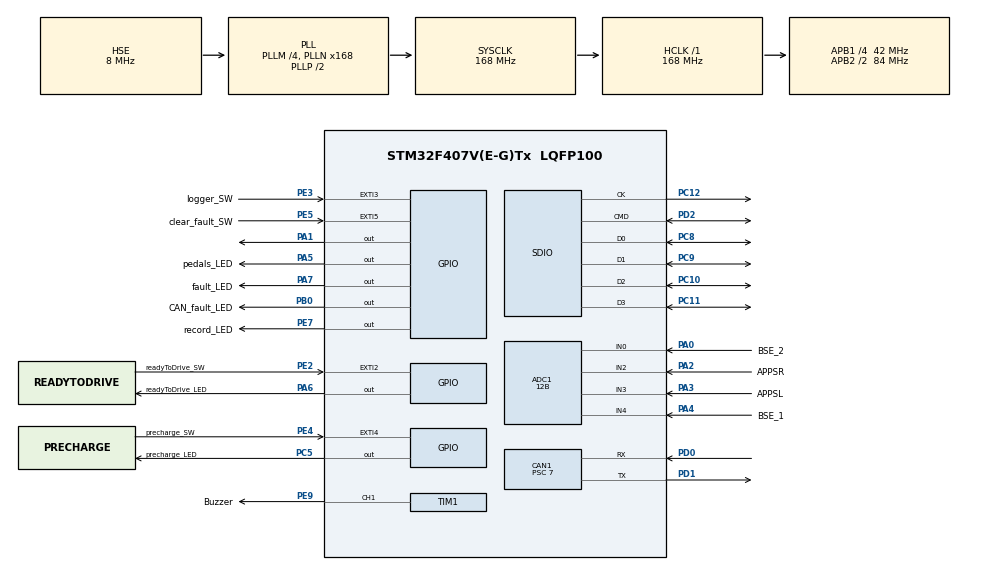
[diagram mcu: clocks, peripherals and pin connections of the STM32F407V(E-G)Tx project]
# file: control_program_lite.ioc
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ADC1.Channel-0\#ChannelRegularConversion=ADC_CHANNEL_2
ADC1.Channel-1\#ChannelRegularConversion=ADC_CHANNEL_3
ADC1.Channel-2\#ChannelRegularConversion=ADC_CHANNEL_4
ADC1.Channel-3\#ChannelRegularConversion=ADC_CHANNEL_0
ADC1.ClockPrescaler=ADC_CLOCK_SYNC_PCLK_DIV8
ADC1.ContinuousConvMode=ENABLE
ADC1.DMAContinuousRequests=ENABLE
ADC1.NbrOfConversion=4
ADC1.NbrOfConversionFlag=1
ADC1.Rank-0\#ChannelRegularConversion=1
ADC1.Rank-1\#ChannelRegularConversion=2
ADC1.Rank-2\#ChannelRegularConversion=3
ADC1.Rank-3\#ChannelRegularConversion=4
ADC1.Resolution=ADC_RESOLUTION_12B
ADC1.SamplingTime-0\#ChannelRegularConversion=ADC_SAMPLETIME_112CYCLES
ADC1.SamplingTime-1\#ChannelRegularConversion=ADC_SAMPLETIME_112CYCLES
ADC1.SamplingTime-2\#ChannelRegularConversion=ADC_SAMPLETIME_112CYCLES
ADC1.SamplingTime-3\#ChannelRegularConversion=ADC_SAMPLETIME_112CYCLES
ADC1.ScanConvMode=ENABLE
ADC1.master=1
CAN1.BS1=CAN_BS1_5TQ
CAN1.BS2=CAN_BS2_6TQ
CAN1.CalculateBaudRate=500000
CAN1.CalculateTimeBit=1999.99
CAN1.CalculateTimeQuantum=166.66666666666669
CAN1.Prescaler=7
Dma.ADC1.0.Direction=DMA_PERIPH_TO_MEMORY
Dma.ADC1.0.FIFOMode=DMA_FIFOMODE_DISABLE
Dma.ADC1.0.Instance=DMA2_Stream0
Dma.ADC1.0.MemDataAlignment=DMA_MDATAALIGN_HALFWORD
Dma.ADC1.0.MemInc=DMA_MINC_ENABLE
Dma.ADC1.0.Mode=DMA_CIRCULAR
Dma.ADC1.0.PeriphDataAlignment=DMA_PDATAALIGN_HALFWORD
Dma.ADC1.0.PeriphInc=DMA_PINC_DISABLE
Dma.ADC1.0.Priority=DMA_PRIORITY_LOW
Dma.Request0=ADC1
Dma.Request1=SDIO_RX
Dma.Request2=SDIO_TX
Dma.SDIO_RX.1.Direction=DMA_PERIPH_TO_MEMORY
Dma.SDIO_RX.1.FIFOMode=DMA_FIFOMODE_ENABLE
Dma.SDIO_RX.1.FIFOThreshold=DMA_FIFO_THRESHOLD_FULL
Dma.SDIO_RX.1.Instance=DMA2_Stream3
Dma.SDIO_RX.1.MemBurst=DMA_MBURST_INC4
Dma.SDIO_RX.1.MemDataAlignment=DMA_MDATAALIGN_WORD
Dma.SDIO_RX.1.MemInc=DMA_MINC_ENABLE
Dma.SDIO_RX.1.Mode=DMA_PFCTRL
Dma.SDIO_RX.1.PeriphBurst=DMA_PBURST_INC4
Dma.SDIO_RX.1.PeriphDataAlignment=DMA_PDATAALIGN_WORD
Dma.SDIO_RX.1.PeriphInc=DMA_PINC_DISABLE
Dma.SDIO_RX.1.Priority=DMA_PRIORITY_LOW
Dma.SDIO_TX.2.Direction=DMA_MEMORY_TO_PERIPH
Dma.SDIO_TX.2.FIFOMode=DMA_FIFOMODE_ENABLE
Dma.SDIO_TX.2.FIFOThreshold=DMA_FIFO_THRESHOLD_FULL
Dma.SDIO_TX.2.Instance=DMA2_Stream6
Dma.SDIO_TX.2.MemBurst=DMA_MBURST_INC4
Dma.SDIO_TX.2.MemDataAlignment=DMA_MDATAALIGN_WORD
Dma.SDIO_TX.2.MemInc=DMA_MINC_ENABLE
Dma.SDIO_TX.2.Mode=DMA_PFCTRL
Dma.SDIO_TX.2.PeriphBurst=DMA_PBURST_INC4
Dma.SDIO_TX.2.PeriphDataAlignment=DMA_PDATAALIGN_WORD
Dma.SDIO_TX.2.PeriphInc=DMA_PINC_DISABLE
Dma.SDIO_TX.2.Priority=DMA_PRIORITY_LOW
FATFS._MAX_SS=4096
IWDG.Prescaler=IWDG_PRESCALER_32
IWDG.Reload=1000
Mcu.Family=STM32F4
Mcu.Name=STM32F407V(E-G)Tx
Mcu.Package=LQFP100
NVIC.CAN1_RX0_IRQn=true\:2\:0\:true\:true\:true\:5\:true\:true
NVIC.DMA2_Stream0_IRQn=true\:0\:0\:false\:true\:true\:1\:false\:true
NVIC.DMA2_Stream3_IRQn=true\:0\:0\:false\:false\:true\:false\:true
NVIC.DMA2_Stream6_IRQn=true\:0\:0\:false\:false\:true\:false\:true
NVIC.EXTI2_IRQn=true\:1\:0\:true\:true\:true\:3\:true\:true
NVIC.EXTI3_IRQn=true\:1\:2\:true\:false\:true\:true\:true
NVIC.EXTI4_IRQn=true\:1\:1\:true\:true\:true\:2\:true\:true
NVIC.EXTI9_5_IRQn=true\:1\:2\:true\:true\:true\:6\:true\:true
NVIC.PriorityGroup=NVIC_PRIORITYGROUP_2
NVIC.SDIO_IRQn=true\:0\:0\:false\:false\:true\:true\:true
NVIC.TIM2_IRQn=true\:0\:0\:false\:true\:true\:4\:true\:true
PA0-WKUP.GPIO_Label=BSE_2
PA0-WKUP.Signal=ADCx_IN0
PA1.Signal=GPIO_Output
PA2.GPIO_Label=APPSR
PA2.Signal=ADCx_IN2
PA3.GPIO_Label=APPSL
PA3.Signal=ADCx_IN3
PA4.GPIO_Label=BSE_1
PA4.Signal=ADCx_IN4
PA5.GPIO_Label=pedals_LED
PA5.Signal=GPIO_Output
PA6.GPIO_Label=readyToDrive_LED
PA6.Signal=GPIO_Output
PA7.GPIO_Label=fault_LED
PA7.Signal=GPIO_Output
PB0.GPIO_Label=CAN_fault_LED
PB0.Signal=GPIO_Output
PC10.GPIO_PuPd=GPIO_PULLUP
PC10.Mode=SD_4_bits_Wide_bus
PC10.Signal=SDIO_D2
PC11.GPIO_PuPd=GPIO_PULLUP
PC11.Mode=SD_4_bits_Wide_bus
PC11.Signal=SDIO_D3
PC12.Mode=SD_4_bits_Wide_bus
PC12.Signal=SDIO_CK
PC14-OSC32_IN.Mode=LSE-External-Oscillator
PC14-OSC32_IN.Signal=RCC_OSC32_IN
PC15-OSC32_OUT.Mode=LSE-External-Oscillator
PC15-OSC32_OUT.Signal=RCC_OSC32_OUT
PC5.GPIO_Label=precharge_LED
PC5.Signal=GPIO_Output
PC8.GPIO_PuPd=GPIO_PULLUP
PC8.Mode=SD_4_bits_Wide_bus
PC8.Signal=SDIO_D0
PC9.GPIO_PuPd=GPIO_PULLUP
PC9.Mode=SD_4_bits_Wide_bus
PC9.Signal=SDIO_D1
PD0.Mode=CAN_Activate
PD0.Signal=CAN1_RX
PD1.Mode=CAN_Activate
PD1.Signal=CAN1_TX
PD2.GPIO_PuPd=GPIO_PULLUP
PD2.Mode=SD_4_bits_Wide_bus
PD2.Signal=SDIO_CMD
PE2.GPIO_Label=readyToDrive_SW
PE2.GPIO_ModeDefaultEXTI=GPIO_MODE_IT_RISING_FALLING
PE2.GPIO_PuPd=GPIO_PULLUP
PE2.Signal=GPXTI2
PE3.GPIO_Label=logger_SW
PE3.GPIO_ModeDefaultEXTI=GPIO_MODE_IT_RISING_FALLING
PE3.GPIO_PuPd=GPIO_PULLUP
PE3.Signal=GPXTI3
PE4.GPIO_Label=precharge_SW
PE4.GPIO_ModeDefaultEXTI=GPIO_MODE_IT_RISING_FALLING
PE4.Signal=GPXTI4
PE5.GPIO_Label=clear_fault_SW
PE5.GPIO_ModeDefaultEXTI=GPIO_MODE_IT_RISING_FALLING
PE5.GPIO_PuPd=GPIO_PULLUP
PE5.Signal=GPXTI5
PE7.GPIO_Label=record_LED
PE7.Signal=GPIO_Output
PE9.GPIO_Label=Buzzer
PE9.Signal=S_TIM1_CH1
PH0-OSC_IN.Mode=HSE-External-Oscillator
PH0-OSC_IN.Signal=RCC_OSC_IN
PH1-OSC_OUT.Mode=HSE-External-Oscillator
PH1-OSC_OUT.Signal=RCC_OSC_OUT
ProjectManager.HeapSize=0x200
ProjectManager.StackSize=0x400
ProjectManager.TargetToolchain=MDK-ARM V5.32
RCC.48MHZClocksFreq_Value=48000000
RCC.AHBFreq_Value=168000000
RCC.APB1CLKDivider=RCC_HCLK_DIV4
RCC.APB1Freq_Value=42000000
RCC.APB1TimFreq_Value=84000000
RCC.APB2CLKDivider=RCC_HCLK_DIV2
RCC.APB2Freq_Value=84000000
RCC.APB2TimFreq_Value=168000000
RCC.CortexFreq_Value=168000000
RCC.HCLKFreq_Value=168000000
RCC.HSE_VALUE=8000000
RCC.HSI_VALUE=16000000
RCC.PLLM=4
RCC.PLLN=168
RCC.PLLQ=7
RCC.PLLSourceVirtual=RCC_PLLSOURCE_HSE
RCC.SYSCLKFreq_VALUE=168000000
RCC.SYSCLKSource=RCC_SYSCLKSOURCE_PLLCLK
RCC.VCOOutputFreq_Value=336000000
SH.ADCx_IN0.0=ADC1_IN0,IN0
SH.ADCx_IN2.0=ADC1_IN2,IN2
SH.ADCx_IN3.0=ADC1_IN3,IN3
SH.ADCx_IN4.0=ADC1_IN4,IN4
SH.S_TIM1_CH1.0=TIM1_CH1,PWM Generation1 CH1
TIM1.Channel-PWM\ Generation1\ CH1=TIM_CHANNEL_1
TIM1.Period=255-1
TIM1.Prescaler=646-1
TIM2.Period=2
TIM2.Prescaler=42000
TIM2.TIM_MasterOutputTrigger=TIM_TRGO_UPDATE
VP_FATFS_VS_SDIO.Mode=SDIO
VP_IWDG_VS_IWDG.Mode=IWDG_Activate
VP_TIM1_VS_ClockSourceINT.Mode=Internal
VP_TIM2_VS_ClockSourceINT.Mode=Internal
board=custom

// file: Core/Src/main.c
/* USER CODE BEGIN Header */
/**
  ******************************************************************************
  * @file           : main.c
  * @brief          : Main program body
  ******************************************************************************
  * @attention
  *
  * <h2><center>&copy; Copyright (c) 2021 STMicroelectronics.
  * All rights reserved.</center></h2>
  *
  * This software component is licensed by ST under BSD 3-Clause license,
  * the "License"; You may not use this file except in compliance with the
  * License. You may obtain a copy of the License at:
  *                        opensource.org/licenses/BSD-3-Clause
  *
  ******************************************************************************
  */
/* USER CODE END Header */
#include "main.h"
#include "adc.h"
#include "can.h"
#include "dma.h"
#include "fatfs.h"
#include "iwdg.h"
#include "sdio.h"
#include "tim.h"
#include "gpio.h"

/* USER CODE BEGIN Includes */
#include <stdbool.h>
#include <math.h>
#include <stdio.h>
#include <string.h>

/* USER CODE END Includes */

/* USER CODE BEGIN PD */
//command torque define

//torque upper bound
#define TORQUE_UB 700

//pedal box parameter setting
#define BrakeAct 850
#define APPSAct 300
#define APPSLeast 200   //for the APPS plausibility check  => motor must shut down until the APPS signals less than 5% peadal travel
#define APPSDIFF 2000

//if out of this range will generate error
#define APPSRUPPEST 4000
#define APPSLUPPEST 4000
#define BPPSUPPEST 4000
#define APPSRLOWEST 500
#define APPSLLOWEST 500
#define BPPSLOWEST 0
#define DISCONNECT 4050
//deine max and offset this parameter offset will slight bigger than the lowest and max will slight smaller than the uppest depends on  the pedal box
//this parameter is used to determine the output torque
#define APPSRMAX 2600
#define APPSLMAX 3800
#define APPSROFFSET 1600
#define APPSLOFFSET 2900
#define BPPSOFFSET 900
#define BPPSMAX 2500
#define ReadyTime 1000   //ms

//dma scan
#define APPSR adcArr[0] //min 1740   max 3740
#define APPSL adcArr[1] //min 1450   max 3500
#define BPPS   adcArr[2]
//#define APPS ((adcArr[0] - APPSROFFSET) + (adcArr[1] - APPSLOFFSET))/2

//daul algorithm
#define RAD 180.0/3.14159
#define RAD_REC 3.14159/180.0
#define SPEED (double)adcArr[4]
#define STEER (double)adcArr[5]

#define MASS 300.0
#define POWER_UB 40000
/* USER CODE END PD */

/* USER CODE BEGIN PV */
uint16_t adcArr[5];
int16_t APPS = 0;
static CAN_TxHeaderTypeDef TxMessage_right;
static CAN_TxHeaderTypeDef TxMessage_left;
static CAN_TxHeaderTypeDef TxMessage_R_clear;
static CAN_TxHeaderTypeDef TxMessage_L_clear;
static CAN_RxHeaderTypeDef RxMessage;

//Rx Txdata
uint8_t TxData_R[8]={0};
uint8_t TxData_L[8]={0};
uint8_t RxData_R[8]={0};
uint8_t RxData_L[8]={0};
uint8_t TxData_clear[8]={0};
uint32_t TxMailbox;
uint8_t RxData[8]={0};

//address
uint16_t OwnID=0x123;
uint16_t RemoteID =0x0A0;
uint16_t Received_ID;
//sensor
uint32_t accMeter =0;
uint16_t wheelSpeed[4];
uint16_t steerDegree =0;

//inverter
uint16_t rpm_right = 0;
uint16_t rpm_left = 0;
uint16_t DC_voltage;
uint16_t DC_current;

bool readyButton;
uint8_t errorNumber;
const uint16_t fixed_torque_ub = 1400;
uint16_t torque_ub = 0;
uint16_t commanded_torque=0;
uint16_t torque_right=0;
uint16_t torque_left=0;
uint32_t startTime;
uint32_t duration=0;
uint8_t cycle = 0;
bool pedals=0;
bool rtd_io=0;
bool error =0;
bool inverter_error_L = 0;
bool inverter_error_R = 0;
bool inverter_connect_L = 0;
bool inverter_connect_R = 0;
uint16_t inverter_alive_counter_R = 0;
uint16_t inverter_alive_counter_L = 0;
bool rtd_start=0; //if precharge&&reset&&readyToDrive io are all on this parameter will be true
bool record=0;
bool precharge_io=0;
bool clear_fault_io=0;
bool direction=0;

//time
double period=0;
//SD
char file_name[20] = "test.txt";
FRESULT res;
UINT written;
FILINFO info;
BYTE work[_MAX_SS];
char record_data[300];
uint16_t start_record_time;
uint16_t record_time;
uint16_t record_cnt = 0;
/* USER CODE END PV */

void SystemClock_Config(void);
static void MX_NVIC_Init(void);
/* USER CODE BEGIN PFP */
//APPS
void driving_mode(void);
void led_blink(void);
void pedals_mode(void);
uint8_t check_safety(void);
uint16_t map(int16_t value,int16_t inputL,int16_t inputH,int16_t outputL ,int16_t outputH);
void torque_command(void);
void torque_to_can(void);

//CAN
void CAN_filterConfig(void);
void CAN_Txsetup(void);

//buzzer
void setBuzzer(uint8_t value);

double map_double(double value,double inputL,double inputH,double outputL ,double outputH);

/* USER CODE END PFP */

int main(void)
{

  /* MCU Configuration--------------------------------------------------------*/

  /* Reset of all peripherals, Initializes the Flash interface and the Systick. */

  HAL_Init();

  /* Configure the system clock */
  SystemClock_Config();

  /* Initialize all configured peripherals */
  MX_GPIO_Init();
  MX_DMA_Init();
  MX_ADC1_Init();
  MX_CAN1_Init();
  MX_TIM1_Init();
  MX_TIM2_Init();
  MX_IWDG_Init();
  MX_SDIO_SD_Init();
  MX_FATFS_Init();

  /* Initialize interrupts */
  MX_NVIC_Init();
  /* USER CODE BEGIN 2 */
	HAL_ADC_Start_DMA(&hadc1,(uint32_t*)adcArr,4);
	HAL_TIM_Base_Start_IT(&htim2);
	CAN_filterConfig();
	CAN_Txsetup();

	precharge_io=HAL_GPIO_ReadPin(precharge_SW_GPIO_Port,precharge_SW_Pin);
	if(precharge_io)
		HAL_GPIO_WritePin(precharge_LED_GPIO_Port,precharge_LED_Pin,GPIO_PIN_SET);

	HAL_TIM_PWM_Start(&htim1, TIM_CHANNEL_1);

	// SD file set/mount
	/* Mode option 0:Do not mount (delayed mount), 1:Mount immediately */
	res = f_mount(&SDFatFS, (TCHAR const*)SDPath, 0);
	//srand( time(NULL) );

	// SD file open
	//sprintf(file_name, "test%4d.txt",rand());
	//file_name[4]+=65;
	//file_name[5]+=65;
	//file_name[6]+=65;
	//file_name[7]+=65;
	//res = f_open(&SDFile, file_name, FA_WRITE | FA_READ | FA_CREATE_ALWAYS );
	res = f_open(&SDFile, file_name, FA_OPEN_APPEND | FA_WRITE | FA_READ  | FA_CREATE_ALWAYS);
	f_close(&SDFile);
  /* USER CODE END 2 */

  /* Infinite loop */
  while (1)
  {

    /* USER CODE BEGIN 3 */
		//waiting for precharge reset_switch, ready to drive to activate the driving mode
		if(rtd_io==0 ){
				torque_right=0;
				torque_left=0;
				HAL_GPIO_WritePin(readyToDrive_LED_GPIO_Port,readyToDrive_LED_Pin,GPIO_PIN_RESET);
				HAL_GPIO_WritePin(pedals_LED_GPIO_Port,pedals_LED_Pin,GPIO_PIN_RESET);
				duration=0;
				do{
						if(rtd_start==1 && errorNumber == 5){
								startTime=HAL_GetTick();
								setBuzzer(200);
								while(duration<ReadyTime &&   rtd_start==1){
										duration = HAL_GetTick()-startTime;
								}
						}else{
							setBuzzer(0);
						}
				}while(duration<ReadyTime);
				 rtd_io=1;
				 setBuzzer(50);
				 HAL_Delay(100);
				 setBuzzer(0);
				 HAL_Delay(100);
				 setBuzzer(100);
				 HAL_Delay(100);
				 setBuzzer(0);
			}
			//driving stage
			if(rtd_io==1){
					HAL_GPIO_WritePin(fault_LED_GPIO_Port,fault_LED_Pin,GPIO_PIN_RESET);
					HAL_GPIO_WritePin(readyToDrive_LED_GPIO_Port,readyToDrive_LED_Pin,GPIO_PIN_SET);

				  //entering drive mode
					driving_mode();

			}
  }
  /* USER CODE END 3 */
}

void SystemClock_Config(void)
{
  RCC_OscInitTypeDef RCC_OscInitStruct = {0};
  RCC_ClkInitTypeDef RCC_ClkInitStruct = {0};

  /** Configure the main internal regulator output voltage
  */
  __HAL_RCC_PWR_CLK_ENABLE();
  __HAL_PWR_VOLTAGESCALING_CONFIG(PWR_REGULATOR_VOLTAGE_SCALE1);
  /** Initializes the RCC Oscillators according to the specified parameters
  * in the RCC_OscInitTypeDef structure.
  */
  RCC_OscInitStruct.OscillatorType = RCC_OSCILLATORTYPE_LSI|RCC_OSCILLATORTYPE_HSE;
  RCC_OscInitStruct.HSEState = RCC_HSE_ON;
  RCC_OscInitStruct.LSIState = RCC_LSI_ON;
  RCC_OscInitStruct.PLL.PLLState = RCC_PLL_ON;
  RCC_OscInitStruct.PLL.PLLSource = RCC_PLLSOURCE_HSE;
  RCC_OscInitStruct.PLL.PLLM = 4;
  RCC_OscInitStruct.PLL.PLLN = 168;
  RCC_OscInitStruct.PLL.PLLP = RCC_PLLP_DIV2;
  RCC_OscInitStruct.PLL.PLLQ = 7;
  if (HAL_RCC_OscConfig(&RCC_OscInitStruct) != HAL_OK)
  {
    Error_Handler();
  }
  /** Initializes the CPU, AHB and APB buses clocks
  */
  RCC_ClkInitStruct.ClockType = RCC_CLOCKTYPE_HCLK|RCC_CLOCKTYPE_SYSCLK
                              |RCC_CLOCKTYPE_PCLK1|RCC_CLOCKTYPE_PCLK2;
  RCC_ClkInitStruct.SYSCLKSource = RCC_SYSCLKSOURCE_PLLCLK;
  RCC_ClkInitStruct.AHBCLKDivider = RCC_SYSCLK_DIV1;
  RCC_ClkInitStruct.APB1CLKDivider = RCC_HCLK_DIV4;
  RCC_ClkInitStruct.APB2CLKDivider = RCC_HCLK_DIV2;

  if (HAL_RCC_ClockConfig(&RCC_ClkInitStruct, FLASH_LATENCY_5) != HAL_OK)
  {
    Error_Handler();
  }
}

/**
  * @brief NVIC Configuration.
  * @retval None
  */
static void MX_NVIC_Init(void)
{
  /* DMA2_Stream0_IRQn interrupt configuration */
  HAL_NVIC_SetPriority(DMA2_Stream0_IRQn, 0, 0);
  HAL_NVIC_EnableIRQ(DMA2_Stream0_IRQn);
  /* EXTI4_IRQn interrupt configuration */
  HAL_NVIC_SetPriority(EXTI4_IRQn, 1, 1);
  HAL_NVIC_EnableIRQ(EXTI4_IRQn);
  /* EXTI2_IRQn interrupt configuration */
  HAL_NVIC_SetPriority(EXTI2_IRQn, 1, 0);
  HAL_NVIC_EnableIRQ(EXTI2_IRQn);
  /* TIM2_IRQn interrupt configuration */
  HAL_NVIC_SetPriority(TIM2_IRQn, 0, 0);
  HAL_NVIC_EnableIRQ(TIM2_IRQn);
  /* CAN1_RX0_IRQn interrupt configuration */
  HAL_NVIC_SetPriority(CAN1_RX0_IRQn, 2, 0);
  HAL_NVIC_EnableIRQ(CAN1_RX0_IRQn);
  /* EXTI9_5_IRQn interrupt configuration */
  HAL_NVIC_SetPriority(EXTI9_5_IRQn, 1, 2);
  HAL_NVIC_EnableIRQ(EXTI9_5_IRQn);
}

/* USER CODE BEGIN 4 */
void HAL_TIM_PeriodElapsedCallback(TIM_HandleTypeDef *htim)
{
  /* Prevent unused argument(s) compilation warning */
  UNUSED(htim);

  /* NOTE : This function should not be modified, when the callback is needed,
            the HAL_TIM_PeriodElapsedCallback could be implemented in the user file
   */

	APPS = ((APPSR - APPSROFFSET) + (APPSL - APPSLOFFSET))/2;
	if((cycle%20) == 0){
	//CAN transmit
		if(clear_fault_io){
			HAL_CAN_AddTxMessage(&hcan1,&TxMessage_R_clear,TxData_clear,&TxMailbox);
			HAL_CAN_AddTxMessage(&hcan1,&TxMessage_L_clear,TxData_clear,&TxMailbox);
			clear_fault_io = 0;
			inverter_error_L = 0;
			inverter_error_R = 0;
			HAL_GPIO_WritePin(CAN_fault_LED_GPIO_Port,CAN_fault_LED_Pin,GPIO_PIN_RESET);
		}
		torque_to_can();
		HAL_CAN_AddTxMessage(&hcan1,&TxMessage_right,TxData_R,&TxMailbox);
		HAL_CAN_AddTxMessage(&hcan1,&TxMessage_left ,TxData_L,&TxMailbox);
		HAL_IWDG_Refresh(&hiwdg);
		HAL_GPIO_TogglePin(GPIOA,GPIO_PIN_1);

		++inverter_alive_counter_L;
		++inverter_alive_counter_R;
		if(inverter_alive_counter_L > 50){
			inverter_connect_L = 0;
		}
		if(inverter_alive_counter_R > 50){
			inverter_connect_R = 0;
		}

		if(!inverter_connect_R || !inverter_connect_L){
			rtd_io=0;
			HAL_GPIO_WritePin(readyToDrive_LED_GPIO_Port,readyToDrive_LED_Pin,GPIO_PIN_RESET);
			HAL_GPIO_WritePin(CAN_fault_LED_GPIO_Port,CAN_fault_LED_Pin,GPIO_PIN_SET);
		}

		//SD record part
		if(record){
			if(!record_time)
				record_cnt++;
			record_time = HAL_GetTick()-start_record_time;
			sprintf((char*)record_data, "cnt%2d time%4d rpmR %4d rpmL %4d DC_voltage %4d DC_current %4d\n",record_cnt,record_time/100,rpm_right,rpm_left,DC_voltage,DC_current);
			//sprintf((char*)record_data, "%d time %d rpmR %d rpmL %d DC_voltage %d DC_current %d\n",record_cnt,record_time,rpm_right,rpm_left,DC_voltage,DC_current);
			res = f_open(&SDFile, file_name, FA_OPEN_APPEND | FA_WRITE | FA_READ );
			res = f_write(&SDFile, record_data , strlen(record_data), &written);
			f_close(&SDFile);
		}

	}

	//check apps sensor range
	if(!rtd_io){
		errorNumber = check_safety();
		if(!(errorNumber == 0 || errorNumber == 5)){
			error = 1;
			HAL_GPIO_WritePin(fault_LED_GPIO_Port,fault_LED_Pin,GPIO_PIN_SET);
		}else{
			error = 0;
			HAL_GPIO_WritePin(fault_LED_GPIO_Port,fault_LED_Pin,GPIO_PIN_RESET);
		}
	}
	++cycle;
}

void CAN_filterConfig(void){
	CAN_FilterTypeDef filterConfig;

	filterConfig.FilterBank=0;
	filterConfig.FilterActivation=ENABLE;
	filterConfig.FilterFIFOAssignment=CAN_RX_FIFO0;
	filterConfig.FilterIdHigh=0x0000;
	filterConfig.FilterIdLow=0x0000;
	filterConfig.FilterMaskIdHigh=0x0000;
	filterConfig.FilterMaskIdLow=0x0000;
	filterConfig.FilterMode=CAN_FILTERMODE_IDMASK;
	filterConfig.FilterScale= CAN_FILTERSCALE_32BIT;
	filterConfig.SlaveStartFilterBank=14;

	if(HAL_CAN_ConfigFilter(&hcan1,&filterConfig)!=HAL_OK){
		Error_Handler();
	}

	if(HAL_CAN_ActivateNotification(&hcan1,CAN_IT_RX_FIFO0_MSG_PENDING)!=HAL_OK){
		Error_Handler();
	}		//enable interrupt

}
void CAN_Txsetup(){
		if(HAL_CAN_Start(&hcan1)!=HAL_OK){
		Error_Handler();

		}

		TxMessage_right.StdId=0x0C0;
		TxMessage_right.ExtId=0x01;
		TxMessage_right.RTR=CAN_RTR_DATA;
		TxMessage_right.IDE=CAN_ID_STD;
		TxMessage_right.DLC=8;
		TxMessage_right.TransmitGlobalTime=DISABLE;   //time trigger must be turned ON

		TxMessage_left.StdId=0x070;
		TxMessage_left.ExtId=0x01;
		TxMessage_left.RTR=CAN_RTR_DATA;
		TxMessage_left.IDE=CAN_ID_STD;
		TxMessage_left.DLC=8;
		TxMessage_left.TransmitGlobalTime=DISABLE;   //time trigger must be turned ON

		TxData_R[0]=0;
		TxData_R[1]=0;
		TxData_R[2]=0;
		TxData_R[3]=0;
		TxData_R[4]=!direction;
		TxData_R[5]=0;
		TxData_R[6]=0;
		TxData_R[7]=0;

		TxData_L[0]=0;
		TxData_L[1]=0;
		TxData_L[2]=0;
		TxData_L[3]=0;
		TxData_L[4]=direction;
		TxData_L[5]=0;
		TxData_L[6]=0;
		TxData_L[7]=0;

		TxMessage_R_clear.StdId=0x0C1;
		TxMessage_R_clear.ExtId=0x01;
		TxMessage_R_clear.RTR=CAN_RTR_DATA;
		TxMessage_R_clear.IDE=CAN_ID_STD;
		TxMessage_R_clear.DLC=8;
		TxMessage_R_clear.TransmitGlobalTime=DISABLE;

		TxMessage_L_clear.StdId=0x071;
		TxMessage_L_clear.ExtId=0x01;
		TxMessage_L_clear.RTR=CAN_RTR_DATA;
		TxMessage_L_clear.IDE=CAN_ID_STD;
		TxMessage_L_clear.DLC=8;
		TxMessage_L_clear.TransmitGlobalTime=DISABLE;

		TxData_clear[0]=20;
		TxData_clear[1]=0;
		TxData_clear[2]=1;
		TxData_clear[3]=0;
		TxData_clear[4]=0;
		TxData_clear[5]=0;
		TxData_clear[6]=0;
		TxData_clear[7]=0;

}

void HAL_CAN_RxFifo0MsgPendingCallback(CAN_HandleTypeDef *hcan){
	if(HAL_CAN_GetRxMessage(hcan,CAN_RX_FIFO0,&RxMessage,RxData)!=HAL_OK){
		Error_Handler();
	}
	Received_ID=RxMessage.StdId;

	switch(Received_ID){
		case 0xAB:
			inverter_alive_counter_R = 0;
			inverter_connect_R = 1;
			inverter_error_R = 0;
			for(int i=0;i<8;++i){
				RxData_R[i]=RxData[i];
				if(RxData[i]){
					inverter_error_R = 1;
					error = 1;
					rtd_io=0;
					HAL_GPIO_WritePin(CAN_fault_LED_GPIO_Port,CAN_fault_LED_Pin,GPIO_PIN_SET);
				}
			}
			break;
		case 0x5B:
			inverter_alive_counter_L = 0;
			inverter_connect_L = 1;

			for(int i=0;i<8;++i){
				RxData_L[i]=RxData[i];
				if(RxData[i]){
					inverter_error_L = 1;
					error = 1;
			    rtd_io=0;
					HAL_GPIO_WritePin(CAN_fault_LED_GPIO_Port,CAN_fault_LED_Pin,GPIO_PIN_SET);
				}
			}
			break;
		case 0xA5:
			rpm_right = RxData[2]+RxData[3]*256;
			break;
		case 0x55:
			rpm_left = 65536 - (RxData[2]+RxData[3]*256);
			break;
		case 0xA6: //current info
			DC_current = RxData[6] | (RxData[7] << 8);
			break;
		case 0xA7: //voltage info
			DC_voltage = RxData[0] | (RxData[1] << 8);
			break;
		}
}

void driving_mode(void){
  errorNumber= check_safety();
	switch(errorNumber){
		case 1:{
			//wiring disconnection
			HAL_GPIO_WritePin(fault_LED_GPIO_Port,fault_LED_Pin,GPIO_PIN_SET);
			torque_right=0;
			torque_left=0;
			error = 1;
			rtd_io=0;
			break;
		}
		case 2:{
			//apps throttle differ over
			HAL_GPIO_WritePin(fault_LED_GPIO_Port,fault_LED_Pin,GPIO_PIN_SET);
			torque_right=0;
			torque_left=0;
			error = 1;
			rtd_io=0;
			break;
		}
		case 3:{
			//bpps || apps out of range
			HAL_GPIO_WritePin(fault_LED_GPIO_Port,fault_LED_Pin,GPIO_PIN_SET);
			torque_right=0;
			torque_left=0;
			error = 1;
			rtd_io=0;
			break;
		}
		case 4:{
			//pedals =>enter pedals mode
			HAL_GPIO_WritePin(pedals_LED_GPIO_Port,pedals_LED_Pin,GPIO_PIN_SET);
			torque_right=0;
			torque_left=0;
			pedals=1;
			break;
		}
		case 5:{
			//brake acting
			torque_right=0;
			torque_left=0;
			break;
		}
		case 0:{
			//accelaration mode
			torque_command();
			break;
		}

	}
	if(pedals==1){
		if(APPS<APPSLeast){
			pedals=0;
			HAL_GPIO_WritePin(pedals_LED_GPIO_Port,pedals_LED_Pin,GPIO_PIN_RESET);
		}
	}
}
uint8_t check_safety(void){
		//detect disconnect
		if(APPSR>DISCONNECT || APPSL>DISCONNECT || BPPS>DISCONNECT){
			return 1;
		}
		//apps difference over APPS different  limit
		else if( __fabs ((APPSR - APPSROFFSET) - (APPSL - APPSLOFFSET))> APPSDIFF){
			return 2;
		}
		//check if sensor in the correct zone
		//BPPS 0~100 APPS 0~200
		else if(APPSR>APPSRUPPEST || APPSL>APPSLUPPEST || BPPS>BPPSUPPEST||APPSR<APPSRLOWEST || APPSL<APPSLLOWEST ||BPPS<BPPSLOWEST){
			return 3;
		}
		//braking >20

		else if(BPPS>BrakeAct){
			if(APPS > APPSAct){
				 pedals=1;
				return 4;	 //braking with pedal not safe
			}
			return 5;   //braking safely
		}
		return 0;   //accelaration mode
}

uint16_t map(int16_t value, int16_t inputL,int16_t inputH,int16_t outputL ,int16_t outputH){
	if(value < inputL){
		return 0;
	}
	uint16_t returnVal=(value-inputL)*(outputH-outputL)/(inputH-inputL)+outputL;
	if(returnVal>outputH){
		return outputH;
	}else {
		return returnVal;
	}
}

void torque_command(void){
		if(pedals == 0){
			torque_ub = POWER_UB/(((float)rpm_right)*0.105);
			commanded_torque = map(APPS,0,(APPSRMAX+APPSLMAX-APPSROFFSET-APPSLOFFSET)/2,0,TORQUE_UB);
			//torque_right= (torque_ub < commanded_torque) ? torque_ub : commanded_torque;
			if(rpm_right < 9000){
				torque_right = commanded_torque;
			}else{
				torque_right= (torque_ub < commanded_torque) ? torque_ub : commanded_torque;
			}
		}else{
			torque_right = 0;
		}

		/*
		if (torque_right > torque_ub ){
			torque_right = torque_ub;
		}
		*/
		//torque_left= torque_right;

}

void torque_to_can(void){
	/*01 torque command (torque = ([0]+[1]*256)/10)
  23 speed command (angular speed = [2]+[3]*256
  4   Direction (0:reverse 1:forwards rd).  *further note: if the direction command is changed suddenly when the inverter is still enable, inverter is disable without triggering any fault
  And the Lockout mechanism is set again which will force the user to re-enable it
  5   5.0 inverter enable (0:off 1:ON)
       5.1 inverter discharge (0 disable 1 enable)
       5.2 speed mode
  67  commanded torque limit (0 default)
  this message should be continuously broadcast at least 500 milliseconds
	*/

	if(rtd_io==0){
		TxData_R[0]=0;
		TxData_R[1]=0;
		TxData_R[5]=0;

		TxData_L[0]=0;
		TxData_L[1]=0;
		TxData_L[5]=0;
	}else{
		//regenerate mode
		//torque_right *= -1;
		// it will trans to 65536 + torque automatically

		TxData_R[0]=(torque_right%256);
		TxData_R[1]=(torque_right/256);
		TxData_R[5]=1;

		TxData_L[0] = (torque_right%256);
		TxData_L[1] = (torque_right/256);
		TxData_L[5]=1;
	}
}

double map_double(double value, double inputL,double inputH,double outputL ,double outputH){

	double returnVal=(value-inputL)*(outputH-outputL)/(inputH-inputL)+outputL;
	if(returnVal>outputH){
		return outputH;
	}else {
		return returnVal;
	}
}

void setBuzzer(uint8_t value){
	TIM1 -> CCR1 = value;
}
/* USER CODE END 4 */

void Error_Handler(void)
{
  __disable_irq();
  while (1)
  {
  }
}

/************************ (C) COPYRIGHT STMicroelectronics *****END OF FILE****/
